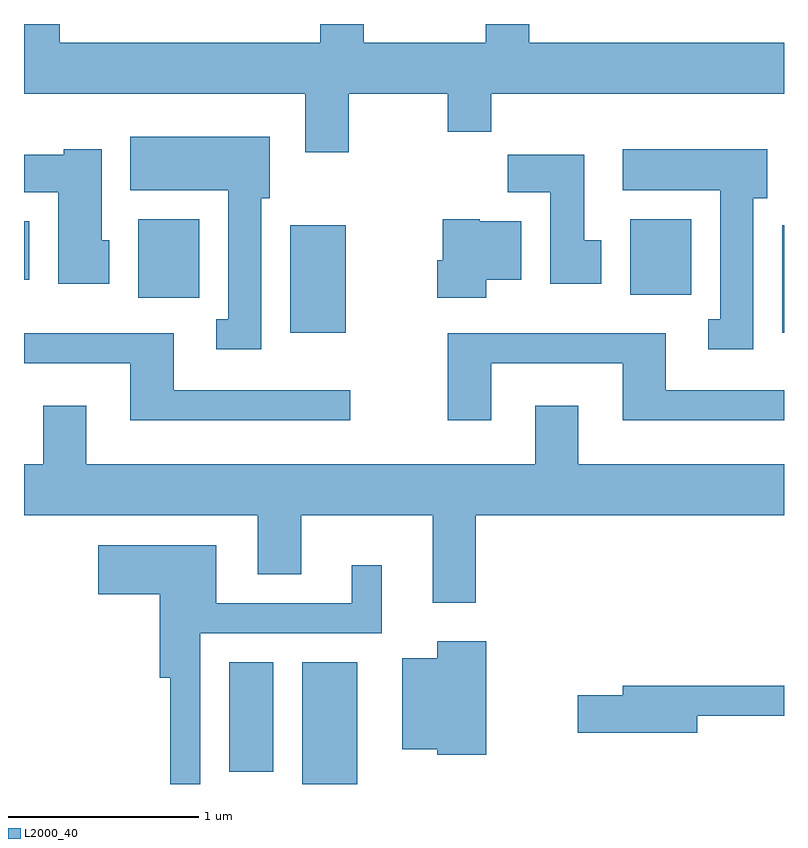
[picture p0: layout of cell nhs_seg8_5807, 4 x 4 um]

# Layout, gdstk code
import gdstk
lib = gdstk.Library(unit=1e-6, precision=1e-09)
def R(c, l, rs):  # rectangles x0, y0, x1, y1
    for r in rs: c.add(gdstk.rectangle(r[:2], r[2:], *l))
def P(c, l, *ps):  # polygons
    for p in ps: c.add(gdstk.Polygon(p, *l))
L2000_40 = (2000, 40)

nhs_seg8_5807 = lib.new_cell('nhs_seg8_5807')
R(nhs_seg8_5807, L2000_40, [(361.076,1828.342,361.364,1828.984), (360.691,1828.406,360.924,1828.984), (361.011,1830.716,361.304,1831.284), (363.601,1830.716,363.611,1831.284), (360.211,1830.901,360.534,1831.314), (362.801,1830.916,363.124,1831.314), (359.611,1830.996,359.639,1831.304)])
P(nhs_seg8_5807, L2000_40, [(361.319,1831.976),(361.841,1831.976),(361.841,1831.776),(362.069,1831.776),(362.069,1831.976),(363.611,1831.976),(363.611,1832.244),(362.269,1832.244),(362.269,1832.342),(362.041,1832.342),(362.041,1832.244),(361.399,1832.244),(361.399,1832.342),(361.171,1832.342),(361.171,1832.244),(359.799,1832.244),(359.799,1832.342),(359.611,1832.342),(359.611,1831.976),(361.091,1831.976),(361.091,1831.666),(361.319,1831.666)],
  [(360.859,1831.426),(360.904,1831.426),(360.904,1831.749),(360.171,1831.749),(360.171,1831.466),(360.686,1831.466),(360.686,1830.789),(360.623,1830.789),(360.623,1830.631),(360.859,1830.631)],
  [(360.059,1831.204),(360.019,1831.204),(360.019,1831.684),(359.821,1831.684),(359.821,1831.654),(359.611,1831.654),(359.611,1831.456),(359.791,1831.456),(359.791,1830.976),(360.059,1830.976)],
  [(363.449,1831.426),(363.524,1831.426),(363.524,1831.684),(362.761,1831.684),(362.761,1831.466),(363.276,1831.466),(363.276,1830.789),(363.213,1830.789),(363.213,1830.631),(363.449,1830.631)],
  [(362.649,1831.204),(362.559,1831.204),(362.559,1831.654),(362.156,1831.654),(362.156,1831.456),(362.381,1831.456),(362.381,1830.976),(362.649,1830.976)],
  [(362.044,1830.996),(362.229,1830.996),(362.229,1831.304),(362.01,1831.304),(362.01,1831.314),(361.816,1831.314),(361.816,1831.099),(361.786,1831.099),(361.786,1830.901),(362.044,1830.901)],
  [(362.069,1830.556),(362.761,1830.556),(362.761,1830.256),(363.611,1830.256),(363.611,1830.414),(362.989,1830.414),(362.989,1830.714),(361.841,1830.714),(361.841,1830.256),(362.069,1830.256)],
  [(361.328,1830.414),(360.399,1830.414),(360.399,1830.714),(359.611,1830.714),(359.611,1830.556),(360.171,1830.556),(360.171,1830.256),(361.328,1830.256)],
  [(361.989,1829.756),(363.611,1829.756),(363.611,1830.024),(362.529,1830.024),(362.529,1830.334),(362.301,1830.334),(362.301,1830.024),(359.939,1830.024),(359.939,1830.334),(359.711,1830.334),(359.711,1830.024),(359.611,1830.024),(359.611,1829.756),(360.841,1829.756),(360.841,1829.446),(361.069,1829.446),(361.069,1829.756),(361.761,1829.756),(361.761,1829.296),(361.989,1829.296)],
  [(360.539,1829.136),(361.494,1829.136),(361.494,1829.493),(361.336,1829.493),(361.336,1829.294),(360.624,1829.294),(360.624,1829.599),(360.001,1829.599),(360.001,1829.341),(360.326,1829.341),(360.326,1828.901),(360.381,1828.901),(360.381,1828.342),(360.539,1828.342)],
  [(362.044,1829.094),(361.786,1829.094),(361.786,1829.004),(361.601,1829.004),(361.601,1828.526),(361.786,1828.526),(361.786,1828.496),(362.044,1828.496)],
  [(363.154,1828.701),(363.611,1828.701),(363.611,1828.859),(362.761,1828.859),(362.761,1828.809),(362.526,1828.809),(362.526,1828.611),(363.154,1828.611)])

lib.write_gds('nhs_seg8_5807.gds')
